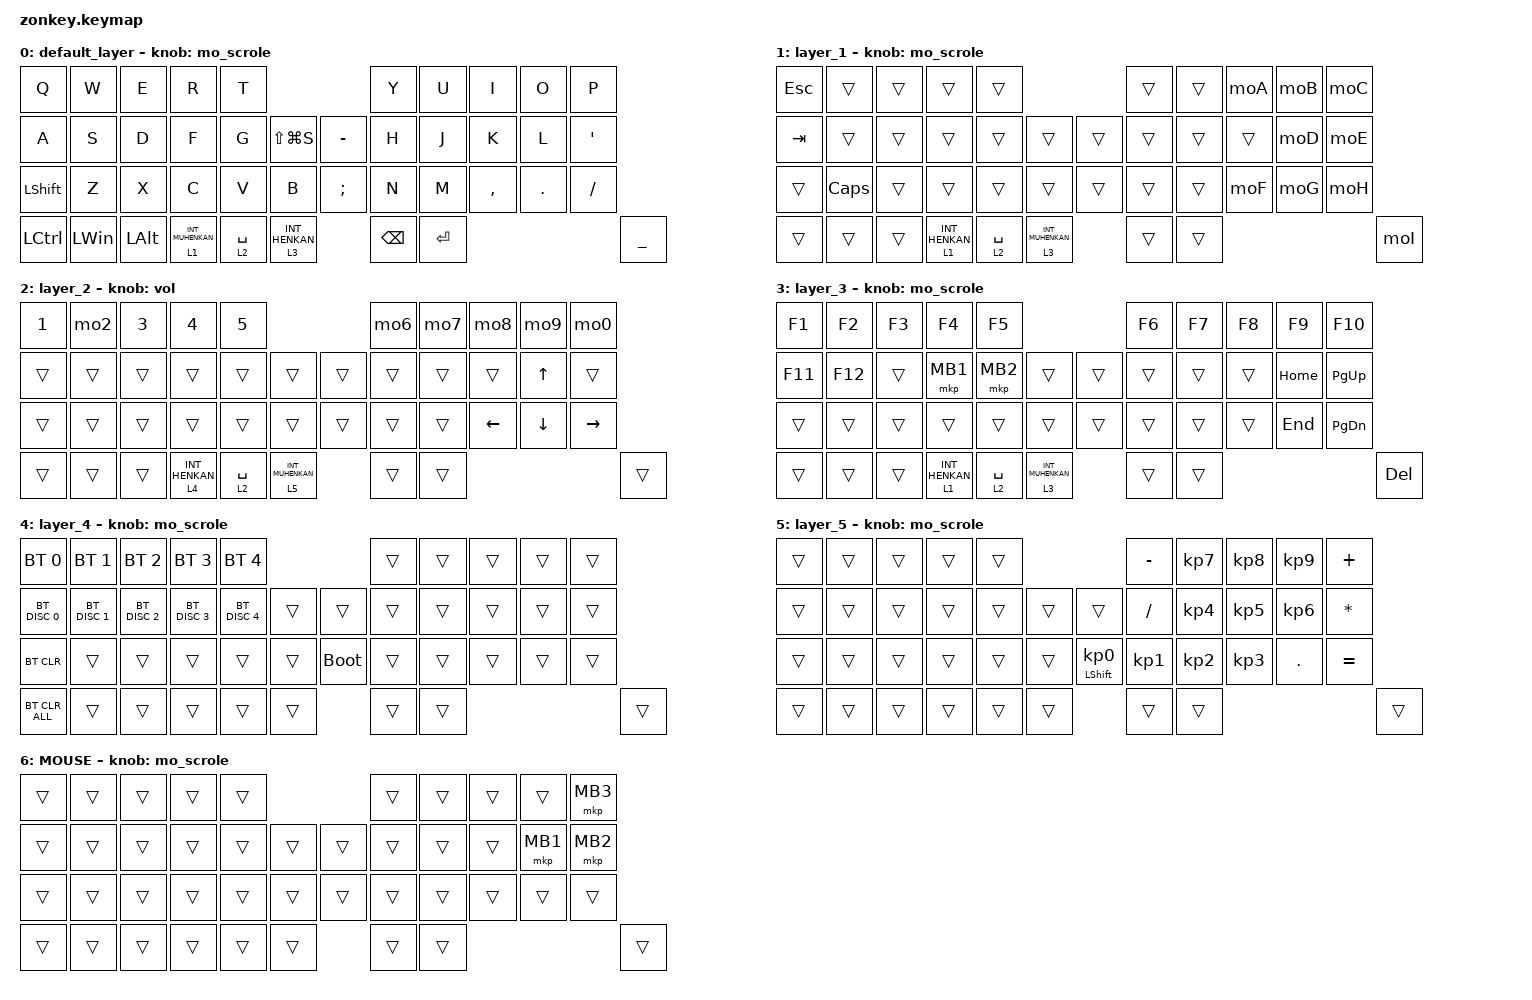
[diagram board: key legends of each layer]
#include <physical_layouts.dtsi>
#include <behaviors.dtsi>
#include <dt-bindings/zmk/bt.h>
#include <dt-bindings/zmk/keys.h>
#include <dt-bindings/zmk/pointing.h>

#define ZMK_POINTING_DEFAULT_SCRL_VAL 100
#define DFb 0
#define JIS 1
#define BT 4
#define MOUSE 6
#define JP_DQUOTE       AT                // "
#define JP_AMPERSAND    CARET             // &
#define JP_QUOTE        AMPERSAND         // '
#define JP_EQUAL        UNDER             // =
#define JP_CARET        EQUAL             // ^
#define JP_YEN          0x89              // ¥
#define JP_PLUS         COLON             // +
#define JP_TILDE        PLUS              // ~
#define JP_PIPE         LS(0x89)          // |
#define JP_AT           LEFT_BRACKET      // @
#define JP_COLON        SINGLE_QUOTE      // :
#define JP_ASTERISK     DOUBLE_QUOTES     // *
#define JP_BACKQUOTE    LEFT_BRACE        // `
#define JP_UNDERSCORE   LS(0x87)          // _
#define JP_LBRACKET     RIGHT_BRACKET     // [
#define JP_RBRACKET     BACKSLASH         // ]
#define JP_LPAREN       ASTERISK          // (
#define JP_RPAREN       LEFT_PARENTHESIS  // )
#define JP_LBRACE       RIGHT_BRACE       // {
#define JP_RBRACE       PIPE              // }
#define JP_KANA         LANGUAGE_1        // かな
#define JP_EISU         LANGUAGE_2        // 英数
#define JP_HANZEN       GRAVE             // 半角/全角
#define JP_BSLH  INT1         // (backslash)

&mt {
    flavor = "balanced";
    quick-tap-ms = <0>;
};

/ {
    combos { compatible = "zmk,combos"; };

    macros {
        to_layer_0: to_layer_0 {
            compatible = "zmk,behavior-macro-one-param";
            #binding-cells = <1>;
            bindings = <&to 0 &macro_param_1to1 &kp MACRO_PLACEHOLDER>;
            label = "TO_LAYER_0";
        };
    };

    behaviors {
        lt_to_layer_0: lt_to_layer_0 {
            compatible = "zmk,behavior-hold-tap";
            label = "LAYER_TAP_TO_0";
            bindings = <&mo>, <&to_layer_0>;

            #binding-cells = <2>;
            tapping-term-ms = <200>;
        };

        mo2: mo2 {
            compatible = "zmk,behavior-mod-morph";
            #binding-cells = <0>;
            bindings = <&kp N2>, <&kp AT>;

            mods = <(MOD_LSFT|MOD_RSFT)>;
        };

        mo6: mo6 {
            compatible = "zmk,behavior-mod-morph";
            #binding-cells = <0>;
            bindings = <&kp N6>, <&kp CARET>;

            mods = <(MOD_LSFT|MOD_RSFT)>;
        };

        mo7: mo7 {
            compatible = "zmk,behavior-mod-morph";
            #binding-cells = <0>;
            bindings = <&kp N7>, <&kp AMPS>;

            mods = <(MOD_LSFT|MOD_RSFT)>;
        };

        mo8: mo8 {
            compatible = "zmk,behavior-mod-morph";
            #binding-cells = <0>;
            bindings = <&kp N8>, <&kp ASTRK>;

            mods = <(MOD_LSFT|MOD_RSFT)>;
        };

        mo9: mo9 {
            compatible = "zmk,behavior-mod-morph";
            #binding-cells = <0>;
            bindings = <&kp N9>, <&kp LPAR>;

            mods = <(MOD_LSFT|MOD_RSFT)>;
        };

        mo0: mo0 {
            compatible = "zmk,behavior-mod-morph";
            #binding-cells = <0>;
            bindings = <&kp N0>, <&kp LS(N9)>;

            mods = <(MOD_LSFT|MOD_RSFT)>;
        };

        moA: moA {
            compatible = "zmk,behavior-mod-morph";
            #binding-cells = <0>;
            bindings = <&kp MINUS>, <&kp UNDERSCORE>;

            mods = <(MOD_LSFT|MOD_RSFT)>;
        };

        moB: moB {
            compatible = "zmk,behavior-mod-morph";
            #binding-cells = <0>;
            bindings = <&kp EQUAL>, <&kp PLUS>;

            mods = <(MOD_LSFT|MOD_RSFT)>;
        };

        moC: moC {
            compatible = "zmk,behavior-mod-morph";
            #binding-cells = <0>;
            bindings = <&kp INT3>, <&kp JP_PIPE>;

            mods = <(MOD_LSFT|MOD_RSFT)>;
        };

        moD: moD {
            compatible = "zmk,behavior-mod-morph";
            #binding-cells = <0>;
            bindings = <&kp LBKT>, <&kp LBRC>;

            mods = <(MOD_LSFT|MOD_RSFT)>;
        };

        moE: moE {
            compatible = "zmk,behavior-mod-morph";
            #binding-cells = <0>;
            bindings = <&kp RBKT>, <&kp RBRC>;

            mods = <(MOD_LSFT|MOD_RSFT)>;
        };

        moF: moF {
            compatible = "zmk,behavior-mod-morph";
            #binding-cells = <0>;
            bindings = <&kp SEMI>, <&kp KP_PLUS>;

            mods = <(MOD_LSFT|MOD_RSFT)>;
        };

        moG: moG {
            compatible = "zmk,behavior-mod-morph";
            #binding-cells = <0>;
            bindings = <&kp APOSTROPHE>, <&kp DQT>;

            mods = <(MOD_LSFT|MOD_RSFT)>;
        };

        moH: moH {
            compatible = "zmk,behavior-mod-morph";
            #binding-cells = <0>;
            bindings = <&kp BACKSLASH>, <&kp TILDE2>;

            mods = <(MOD_LSFT|MOD_RSFT)>;
        };

        moI: moI {
            compatible = "zmk,behavior-mod-morph";
            #binding-cells = <0>;
            bindings = <&kp JP_BSLH>, <&kp JP_UNDERSCORE>;

            mods = <(MOD_LSFT|MOD_RSFT)>;
        };

        scroll_up_down: behavior_sensor_rotate_mouse_wheel_up_down {
            compatible = "zmk,behavior-sensor-rotate";
            #sensor-binding-cells = <0>;
            bindings = <&msc SCRL_UP>, <&msc SCRL_DOWN>;

            tap-ms = <20>;
        };

        mo_scrole: mo_scrole {
            compatible = "zmk,behavior-sensor-rotate";
            #sensor-binding-cells = <0>;
            bindings = <&msc SCRL_DOWN>, <&msc SCRL_UP>;

            tap-ms = <20>;
            label = "MO_SCROLE";
        };

        vol: vol {
            compatible = "zmk,behavior-sensor-rotate";
            label = "VOL";
            #sensor-binding-cells = <0>;
            bindings = <&kp C_VOL_DN>, <&kp C_VOL_UP>;
        };
    };

    keymap {
        compatible = "zmk,keymap";

        default_layer {
            bindings = <
&kp Q           &kp W         &kp E         &kp R               &kp T                                           &kp Y          &kp U      &kp I      &kp O    &kp P
&kp A           &kp S         &kp D         &kp F               &kp G        &kp LS(LG(S))       &kp MINUS      &kp H          &kp J      &kp K      &kp L    &kp SQT
&kp LEFT_SHIFT  &kp Z         &kp X         &kp C               &kp V        &kp B               &kp SEMICOLON  &kp N          &kp M      &kp COMMA  &kp DOT  &kp SLASH
&kp LCTRL       &kp LEFT_WIN  &kp LEFT_ALT  &lt 1 INT_MUHENKAN  &lt 2 SPACE  &lt 3 INT_HENKAN                   &kp BACKSPACE  &kp ENTER                                 &kp UNDERSCORE
            >;

            sensor-bindings = <&mo_scrole>;
        };

        layer_1 {
            bindings = <
&kp ESCAPE  &trans    &trans  &trans            &trans                                     &trans  &trans  &moA    &moB  &moC
&kp TAB     &trans    &trans  &trans            &trans       &trans                &trans  &trans  &trans  &trans  &moD  &moE
&trans      &kp CAPS  &trans  &trans            &trans       &trans                &trans  &trans  &trans  &moF    &moG  &moH
&trans      &trans    &trans  &lt 1 INT_HENKAN  &lt 2 SPACE  &lt 3 INT_MUHENKAN            &trans  &trans                      &moI
            >;

            sensor-bindings = <&mo_scrole>;
        };

        layer_2 {
            bindings = <
&kp N1  &mo2    &kp N3  &kp N4            &kp N5                                     &mo6    &mo7    &mo8            &mo9            &mo0
&trans  &trans  &trans  &trans            &trans       &trans                &trans  &trans  &trans  &trans          &kp UP_ARROW    &trans
&trans  &trans  &trans  &trans            &trans       &trans                &trans  &trans  &trans  &kp LEFT_ARROW  &kp DOWN_ARROW  &kp RIGHT
&trans  &trans  &trans  &lt 4 INT_HENKAN  &lt 2 SPACE  &lt 5 INT_MUHENKAN            &trans  &trans                                             &trans
            >;

            sensor-bindings = <&vol>;
        };

        layer_3 {
            bindings = <
&kp F1   &kp F2   &kp F3  &kp F4            &kp F5                                     &kp F6  &kp F7  &kp F8  &kp F9    &kp F10
&kp F11  &kp F12  &trans  &mkp MB1          &mkp MB2     &trans                &trans  &trans  &trans  &trans  &kp HOME  &kp PAGE_UP
&trans   &trans   &trans  &trans            &trans       &trans                &trans  &trans  &trans  &trans  &kp END   &kp PAGE_DOWN
&trans   &trans   &trans  &lt 1 INT_HENKAN  &lt 2 SPACE  &lt 3 INT_MUHENKAN            &trans  &trans                                   &kp DEL
            >;

            sensor-bindings = <&mo_scrole>;
        };

        layer_4 {
            bindings = <
&bt BT_SEL 0    &bt BT_SEL 1   &bt BT_SEL 2   &bt BT_SEL 3   &bt BT_SEL 4                          &trans  &trans  &trans  &trans  &trans
&bt BT_DISC 0   &bt BT_DISC 1  &bt BT_DISC 2  &bt BT_DISC 3  &bt BT_DISC 4  &trans    &trans       &trans  &trans  &trans  &trans  &trans
&bt BT_CLR      &trans         &trans         &trans         &trans         &trans    &bootloader  &trans  &trans  &trans  &trans  &trans
&bt BT_CLR_ALL  &trans         &trans         &trans         &trans         &trans                 &trans  &trans                          &trans
            >;

            sensor-bindings = <&mo_scrole>;
        };

        layer_5 {
            bindings = <
&trans  &trans  &trans  &trans  &trans                                        &kp MINUS        &kp KP_NUMBER_7  &kp KP_NUMBER_8  &kp KP_NUMBER_9  &kp PLUS
&trans  &trans  &trans  &trans  &trans  &trans    &trans                      &kp SLASH        &kp KP_NUMBER_4  &kp KP_NUMBER_5  &kp KP_NUMBER_6  &kp ASTERISK
&trans  &trans  &trans  &trans  &trans  &trans    &mt LEFT_SHIFT KP_NUMBER_0  &kp KP_NUMBER_1  &kp KP_NUMBER_2  &kp KP_NUMBER_3  &kp PERIOD       &kp EQUAL
&trans  &trans  &trans  &trans  &trans  &trans                                &trans           &trans                                                           &trans
            >;

            sensor-bindings = <&mo_scrole>;
        };

        MOUSE {
            bindings = <
&trans  &trans  &trans  &trans  &trans                    &trans  &trans  &trans  &trans    &mkp MB3
&trans  &trans  &trans  &trans  &trans  &trans    &trans  &trans  &trans  &trans  &mkp MB1  &mkp MB2
&trans  &trans  &trans  &trans  &trans  &trans    &trans  &trans  &trans  &trans  &trans    &trans
&trans  &trans  &trans  &trans  &trans  &trans            &trans  &trans                              &trans
            >;

            sensor-bindings = <&mo_scrole>;
        };
    };
};
